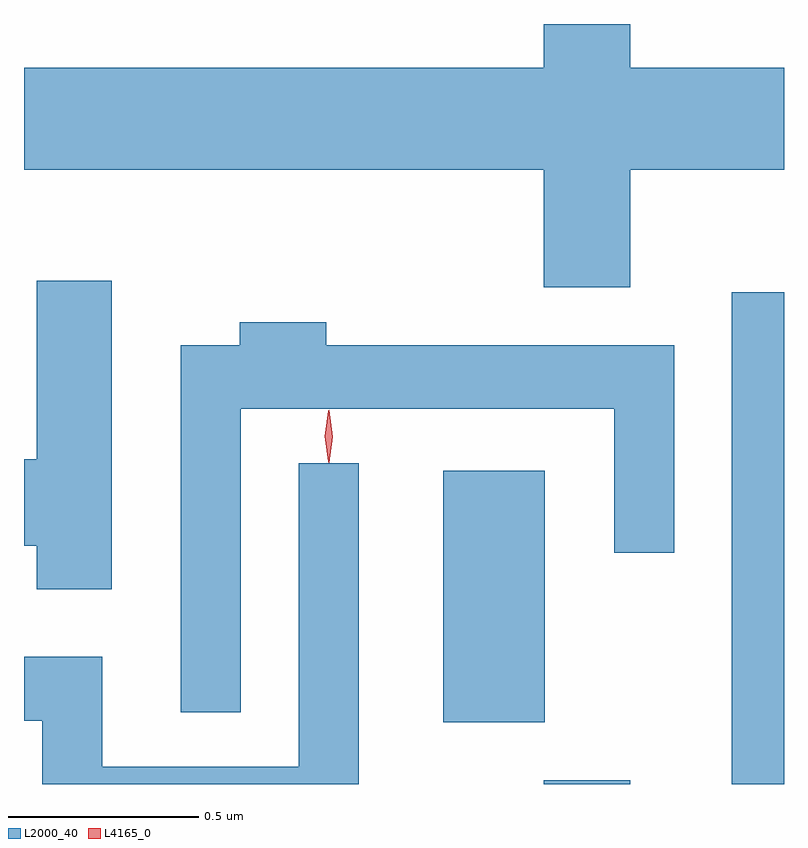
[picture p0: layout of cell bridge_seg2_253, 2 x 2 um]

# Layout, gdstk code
import gdstk
lib = gdstk.Library(unit=1e-6, precision=1e-09)
def R(c, l, rs):  # rectangles x0, y0, x1, y1
    for r in rs: c.add(gdstk.rectangle(r[:2], r[2:], *l))
def P(c, l, *ps):  # polygons
    for p in ps: c.add(gdstk.Polygon(p, *l))
L2000_40 = (2000, 40)
L4165_0 = (4165, 0)

bridge_seg2_253 = lib.new_cell('bridge_seg2_253')
R(bridge_seg2_253, L2000_40, [(493.761,1079.999,493.989,1080.009), (494.256,1079.999,494.393,1081.293), (493.496,1080.161,493.764,1080.824)])
P(bridge_seg2_253, L2000_40, [(493.989,1081.616),(494.393,1081.616),(494.393,1081.884),(493.989,1081.884),(493.989,1081.999),(493.761,1081.999),(493.761,1081.884),(492.393,1081.884),(492.393,1081.616),(493.761,1081.616),(493.761,1081.306),(493.989,1081.306)],
  [(492.624,1081.324),(492.426,1081.324),(492.426,1080.854),(492.393,1080.854),(492.393,1080.626),(492.426,1080.626),(492.426,1080.511),(492.624,1080.511)],
  [(492.964,1080.986),(493.946,1080.986),(493.946,1080.608),(494.104,1080.608),(494.104,1081.154),(493.189,1081.154),(493.189,1081.214),(492.961,1081.214),(492.961,1081.154),(492.806,1081.154),(492.806,1080.188),(492.964,1080.188)],
  [(493.274,1080.843),(493.116,1080.843),(493.116,1080.044),(492.599,1080.044),(492.599,1080.334),(492.393,1080.334),(492.393,1080.166),(492.441,1080.166),(492.441,1079.999),(493.274,1079.999)])
P(bridge_seg2_253, L4165_0, [(493.195,1080.844),(493.186,1080.913),(493.195,1080.982),(493.196,1080.983),(493.196,1080.982),(493.206,1080.913),(493.196,1080.844),(493.196,1080.844)],
  [(493.194,1080.847),(493.194,1080.848),(493.184,1080.914),(493.194,1080.98),(493.194,1080.981),(493.195,1080.98),(493.204,1080.914),(493.195,1080.848)])

lib.write_gds('bridge_seg2_253.gds')
